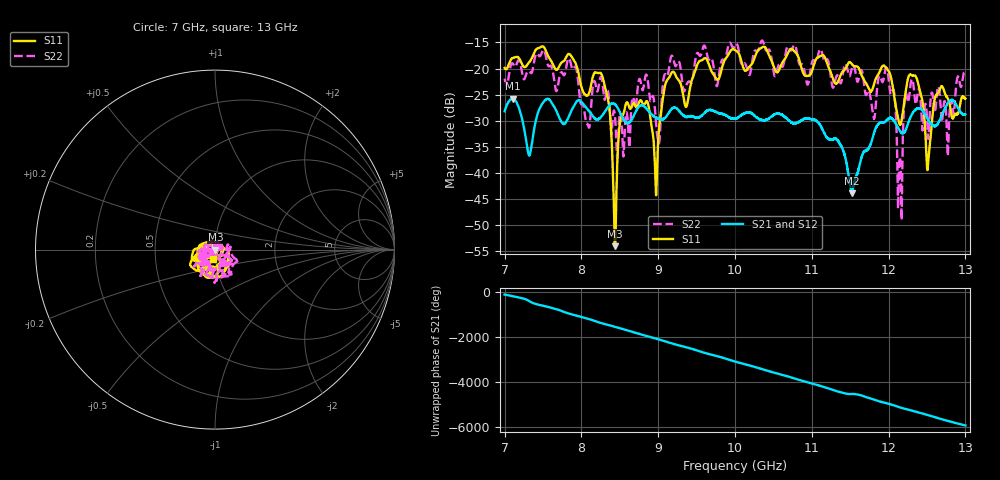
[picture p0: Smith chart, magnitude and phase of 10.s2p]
[Version] 2.0
! Rohde & Schwarz Vector Network Analyzer
! Rohde-Schwarz,ZNL20-2Port,1323001220200009,1.71.1.10-23.02.1.238
! Port Assignments:
! Nominal Port -> Actual Test Port
!  1 -> 1
!  2 -> 2
! Created: GMT+3 2024-09-24 15:11:00
# Hz S DB R 50
[Number of Ports] 2
[Two-Port Data Order] 21_12
! freq[Hz]  S11[mag dB]  S11[ang]  S21[mag dB]  S21[ang]  S12[mag dB]  S12[ang]  S22[mag dB]  S22[ang]
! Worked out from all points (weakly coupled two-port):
!   6001 points, 7 GHz to 13 GHz, reference 50 ohm
!   highest |S21| = -25.79 dB at 7.106 GHz (marker M1); lowest = -43.9 dB at 11.52 GHz (marker M2)
!   lowest |S11| = -54.1 dB at 8.439 GHz (marker M3), VSWR 1.00, Z = 50.2 - j0.0713 ohm
!   |S11| at or under -10 dB: start of sweep to end of sweep
!   |S22| runs from -49.1 to -14.6 dB; largest |S21 - S12| = 0.0009
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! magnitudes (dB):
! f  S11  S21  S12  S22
! 7 GHz  -19.9  -28.2  -28.2  -22.0
! 7.106 GHz  -18.0  -25.8  -25.8  -19.0
! 7.321 GHz  -18.8  -36.6  -36.6  -20.5
! 7.524 GHz  -16.2  -26.1  -26.1  -16.8
! 8 GHz  -23.5  -26.4  -26.4  -26.8
! 8.286 GHz  -22.2  -28.7  -28.7  -24.3
! 8.439 GHz  -54.1  -26.9  -26.9  -29.3
! 8.585 GHz  -26.6  -30.4  -30.4  -28.5
! 8.844 GHz  -26.3  -27.7  -27.6  -21.2
! 9 GHz  -33.6  -29.6  -29.6  -33.9
! 9.174 GHz  -20.8  -27.7  -27.8  -17.6
! 9.364 GHz  -27.4  -29.3  -29.3  -23.3
! 10 GHz  -16.5  -29.6  -29.6  -15.5
! 11 GHz  -20.6  -29.7  -29.7  -18.9
! 11.52 GHz  -19.1  -43.9  -43.9  -20.2
! 11.8 GHz  -23.4  -32.7  -32.7  -29.3
! 12 GHz  -20.5  -29.6  -29.6  -21.9
! 12.15 GHz  -30.7  -32.0  -32.0  -37.0
! 12.3 GHz  -21.3  -28.9  -28.9  -22.1
! 12.51 GHz  -38.5  -29.8  -29.7  -33.1
! 12.67 GHz  -23.9  -29.8  -29.7  -25.6
! 13 GHz  -25.8  -28.8  -28.8  -21.4
